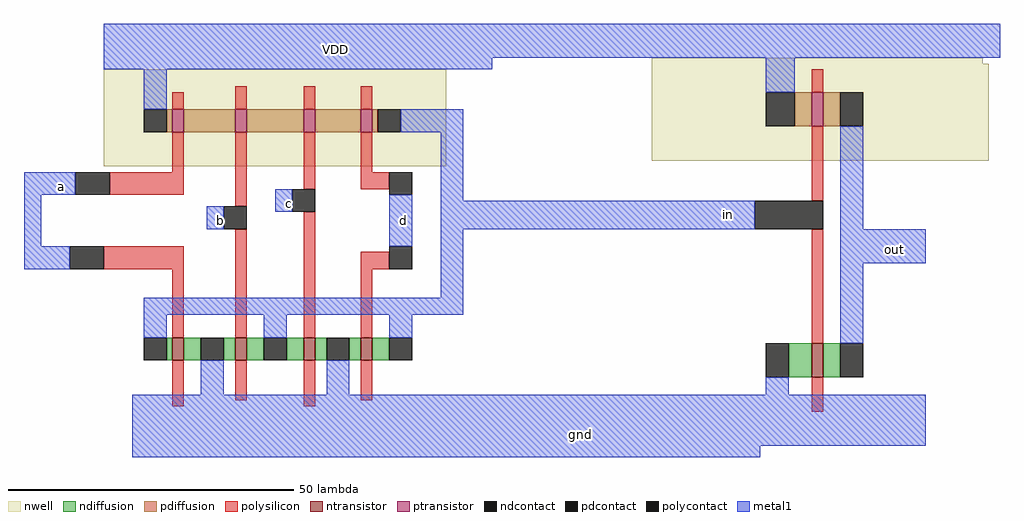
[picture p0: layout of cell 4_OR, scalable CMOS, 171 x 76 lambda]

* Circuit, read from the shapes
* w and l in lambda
.subckt 4_OR VDD a b c d gnd in out
M1 gnd a in VSUBS nfet w=4 l=2
M2 in b gnd VSUBS nfet w=4 l=2
M3 gnd c in VSUBS nfet w=4 l=2
M4 in d gnd VSUBS nfet w=4 l=2
M5 out in gnd VSUBS nfet w=6 l=2
M6 n1 a VDD n2 pfet w=4 l=2
M7 n3 b n1 n2 pfet w=4 l=2
M8 n4 c n3 n2 pfet w=4 l=2
M9 in d n4 n2 pfet w=4 l=2
M10 out in VDD n5 pfet w=6 l=2
.ends

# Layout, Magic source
magic
tech scmos
<< nwell >>
rect 66 21 124 22
rect -30 3 30 20
rect 66 4 125 21
<< ntransistor >>
rect -18 -31 -16 -27
rect -7 -31 -5 -27
rect 5 -31 7 -27
rect 15 -31 17 -27
rect 94 -34 96 -28
<< ptransistor >>
rect -18 9 -16 13
rect -7 9 -5 13
rect 5 9 7 13
rect 15 9 17 13
rect 94 10 96 16
<< ndiffusion >>
rect -19 -31 -18 -27
rect -16 -31 -13 -27
rect -9 -31 -7 -27
rect -5 -31 -2 -27
rect 2 -31 5 -27
rect 7 -31 9 -27
rect 13 -31 15 -27
rect 17 -31 20 -27
rect 90 -34 94 -28
rect 96 -34 99 -28
<< pdiffusion >>
rect -19 9 -18 13
rect -16 9 -7 13
rect -5 9 5 13
rect 7 9 15 13
rect 17 9 18 13
rect 91 10 94 16
rect 96 10 99 16
<< ndcontact >>
rect -23 -31 -19 -27
rect -13 -31 -9 -27
rect -2 -31 2 -27
rect 9 -31 13 -27
rect 20 -31 24 -27
rect 86 -34 90 -28
rect 99 -34 103 -28
<< pdcontact >>
rect -23 9 -19 13
rect 18 9 22 13
rect 86 10 91 16
rect 99 10 103 16
<< polysilicon >>
rect -18 13 -16 16
rect -7 13 -5 17
rect 5 13 7 17
rect 15 13 17 17
rect 94 16 96 20
rect -18 2 -16 9
rect -29 -2 -16 2
rect -7 -4 -5 9
rect 5 -1 7 9
rect 15 2 17 9
rect 15 -1 20 2
rect 94 -3 96 10
rect -30 -15 -16 -11
rect -18 -27 -16 -15
rect -7 -27 -5 -8
rect 5 -27 7 -5
rect 15 -15 20 -12
rect 15 -27 17 -15
rect 94 -28 96 -8
rect -18 -39 -16 -31
rect -7 -38 -5 -31
rect 5 -39 7 -31
rect 15 -38 17 -31
rect 94 -40 96 -34
<< polycontact >>
rect -35 -2 -29 2
rect -9 -8 -5 -4
rect 3 -5 7 -1
rect 20 -2 24 2
rect -36 -15 -30 -11
rect 84 -8 96 -3
rect 20 -15 24 -11
<< metal1 >>
rect -30 22 127 28
rect -30 20 38 22
rect -23 13 -19 20
rect 86 16 91 22
rect 22 9 33 13
rect -44 -2 -35 2
rect -44 -11 -41 -2
rect -12 -8 -9 -4
rect 0 -5 3 -1
rect 20 -11 24 -2
rect -44 -15 -36 -11
rect 29 -3 33 9
rect 29 -8 84 -3
rect 99 -8 103 10
rect 29 -20 33 -8
rect -23 -23 33 -20
rect 99 -14 114 -8
rect -23 -27 -19 -23
rect -2 -27 2 -23
rect 20 -27 24 -23
rect 99 -28 103 -14
rect -13 -37 -9 -31
rect 9 -37 13 -31
rect 86 -37 90 -34
rect -25 -46 114 -37
rect -25 -48 85 -46
<< labels >>
rlabel metal1 9 23 12 24 5 VDD
rlabel metal1 -38 -1 -37 0 1 a
rlabel metal1 -10 -7 -9 -6 1 b
rlabel metal1 2 -4 3 -3 1 c
rlabel metal1 22 -7 23 -6 1 d
rlabel metal1 52 -45 55 -43 1 gnd
rlabel metal1 79 -6 80 -5 1 in
rlabel metal1 108 -12 109 -11 1 out
<< end >>
